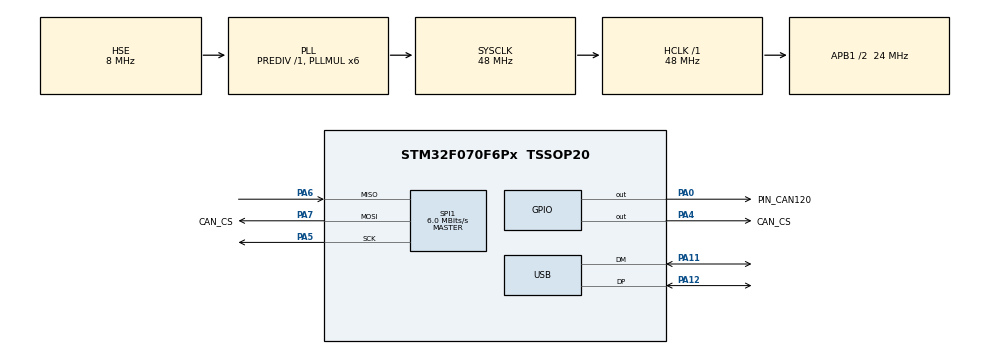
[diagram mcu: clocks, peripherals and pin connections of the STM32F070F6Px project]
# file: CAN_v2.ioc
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Mcu.Family=STM32F0
Mcu.Name=STM32F070F6Px
Mcu.Package=TSSOP20
NVIC.USB_IRQn=true\:0\:0\:false\:false\:true\:false
PA0.GPIO_Label=PIN_CAN120
PA0.GPIO_ModeDefaultOutputPP=GPIO_MODE_OUTPUT_PP
PA0.GPIO_PuPd=GPIO_NOPULL
PA0.GPIO_Speed=GPIO_SPEED_FREQ_LOW
PA0.PinState=GPIO_PIN_RESET
PA0.Signal=GPIO_Output
PA11.Mode=Device
PA11.Signal=USB_DM
PA12.Mode=Device
PA12.Signal=USB_DP
PA13.Mode=Serial_Wire
PA13.Signal=SYS_SWDIO
PA14.Mode=Serial_Wire
PA14.Signal=SYS_SWCLK
PA4.GPIO_Label=CAN_CS
PA4.GPIO_PuPd=GPIO_PULLUP
PA4.Signal=GPIO_Output
PA5.Mode=Full_Duplex_Master
PA5.Signal=SPI1_SCK
PA6.Mode=Full_Duplex_Master
PA6.Signal=SPI1_MISO
PA7.GPIO_Label=CAN_CS
PA7.Mode=Full_Duplex_Master
PA7.Signal=SPI1_MOSI
PF0-OSC_IN.Mode=HSE-External-Oscillator
PF0-OSC_IN.Signal=RCC_OSC_IN
PF1-OSC_OUT.Mode=HSE-External-Oscillator
PF1-OSC_OUT.Signal=RCC_OSC_OUT
ProjectManager.HeapSize=0x200
ProjectManager.StackSize=0x400
ProjectManager.TargetToolchain=MDK-ARM V5
RCC.AHBFreq_Value=48000000
RCC.APB1CLKDivider=RCC_HCLK_DIV2
RCC.APB1Freq_Value=24000000
RCC.APB1TimFreq_Value=48000000
RCC.HCLKFreq_Value=48000000
RCC.PLLMUL=RCC_PLL_MUL6
RCC.SYSCLKFreq_VALUE=48000000
RCC.SYSCLKSource=RCC_SYSCLKSOURCE_PLLCLK
SPI1.BaudRatePrescaler=SPI_BAUDRATEPRESCALER_4
SPI1.CalculateBaudRate=6.0 MBits/s
SPI1.DataSize=SPI_DATASIZE_8BIT
SPI1.Direction=SPI_DIRECTION_2LINES
SPI1.Mode=SPI_MODE_MASTER
SPI1.VirtualType=VM_MASTER
USB.low_power_enable=ENABLE
USB.lpm_enable=ENABLE
USB_DEVICE.CLASS_NAME_FS=CDC
USB_DEVICE.USBD_MAX_STR_DESC_SIZ=256
USB_DEVICE.VID=1152
USB_DEVICE.VirtualMode=Cdc
USB_DEVICE.VirtualModeFS=Cdc_FS
VP_SYS_VS_PINREMAP.Mode=PINREMAP
VP_USB_DEVICE_VS_USB_DEVICE_CDC_FS.Mode=CDC_FS
board=custom

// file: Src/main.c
/**
  ******************************************************************************
  * @file           : main.c
  * @brief          : Main program body
  ******************************************************************************
  * This notice applies to any and all portions of this file
  * that are not between comment pairs USER CODE BEGIN and
  * USER CODE END. Other portions of this file, whether
  * inserted by the user or by software development tools
  * are owned by their respective copyright owners.
  *
  * Copyright (c) 2019 STMicroelectronics International N.V.
  * All rights reserved.
  *
  * Redistribution and use in source and binary forms, with or without
  * modification, are permitted, provided that the following conditions are met:
  *
  * 1. Redistribution of source code must retain the above copyright notice,
  *    this list of conditions and the following disclaimer.
  * 2. Redistributions in binary form must reproduce the above copyright notice,
  *    this list of conditions and the following disclaimer in the documentation
  *    and/or other materials provided with the distribution.
  * 3. Neither the name of STMicroelectronics nor the names of other
  *    contributors to this software may be used to endorse or promote products
  *    derived from this software without specific written permission.
  * 4. This software, including modifications and/or derivative works of this
  *    software, must execute solely and exclusively on microcontroller or
  *    microprocessor devices manufactured by or for STMicroelectronics.
  * 5. Redistribution and use of this software other than as permitted under
  *    this license is void and will automatically terminate your rights under
  *    this license.
  *
  * THIS SOFTWARE IS PROVIDED BY STMICROELECTRONICS AND CONTRIBUTORS "AS IS"
  * AND ANY EXPRESS, IMPLIED OR STATUTORY WARRANTIES, INCLUDING, BUT NOT
  * LIMITED TO, THE IMPLIED WARRANTIES OF MERCHANTABILITY, FITNESS FOR A
  * PARTICULAR PURPOSE AND NON-INFRINGEMENT OF THIRD PARTY INTELLECTUAL PROPERTY
  * RIGHTS ARE DISCLAIMED TO THE FULLEST EXTENT PERMITTED BY LAW. IN NO EVENT
  * SHALL STMICROELECTRONICS OR CONTRIBUTORS BE LIABLE FOR ANY DIRECT, INDIRECT,
  * INCIDENTAL, SPECIAL, EXEMPLARY, OR CONSEQUENTIAL DAMAGES (INCLUDING, BUT NOT
  * LIMITED TO, PROCUREMENT OF SUBSTITUTE GOODS OR SERVICES; LOSS OF USE, DATA,
  * OR PROFITS; OR BUSINESS INTERRUPTION) HOWEVER CAUSED AND ON ANY THEORY OF
  * LIABILITY, WHETHER IN CONTRACT, STRICT LIABILITY, OR TORT (INCLUDING
  * NEGLIGENCE OR OTHERWISE) ARISING IN ANY WAY OUT OF THE USE OF THIS SOFTWARE,
  * EVEN IF ADVISED OF THE POSSIBILITY OF SUCH DAMAGE.
  *
  ******************************************************************************
  */
#include "main.h"
#include "stm32f0xx_hal.h"
#include "usb_device.h"
/* USER CODE BEGIN Includes */
#include "usbd_cdc_if.h"
#include "CANSPI.h"
/* USER CODE END Includes */

SPI_HandleTypeDef hspi1;
/* USER CODE BEGIN PV */
/* Private variables ---------------------------------------------------------*/

#define LOG_RECORDS_SIZE 8
#define bool uint8_t
#define true 1
#define false 0

typedef enum
{
	Status_Error_CANSPI_Was_Not_initilized = 1,
	Status_Error_CANSPI_Transmit = 2,
	Status_Error_CANSPI_Transmit_Passive = 4,
	Status_Error_CANSPI_Recieve_Passive = 8,
	Status_Hanshake_OK = 16,
	Status_With_CAN_Body = 32,
	Status_TestPin = 64,
	Status_Error_HAL = 128,
	Status_Error_Input = 256,
} Status;

typedef enum
{
	Command_Invalid = -1,
	Command_Turn_CAN120_On = 0,
	Command_Turn_CAN120_Off,
	Command_Tx_CAN,
	Command_Handshake_Comes,
	Command_Reset_CAN,
	Command_MAX
} Command;

Command CURRENT_STATE = Command_Invalid;
uCAN_MSG txMessage;

#ifdef MCP2515_ENABLED

#pragma pack(push, 1)
typedef struct
{
	uint8_t headerMSG;
	uint32_t status;
	uCAN_MSG msg;
} Message;
#pragma pack(pop)

typedef struct
{
	Message rx;
	uint32_t lastStatus;
} Context;

#endif//MCP2515_ENABLED
/* USER CODE END PV */
void SystemClock_Config(void);
static void MX_GPIO_Init(void);
static void MX_SPI1_Init(void);
/* USER CODE BEGIN PFP */
/* Private function prototypes -----------------------------------------------*/
/* USER CODE END PFP */
/* USER CODE BEGIN 0 */
void USBD_Reciever_USER(uint8_t * Buf, uint32_t *Len)
{
	if ( *Len == 1 ){
		CURRENT_STATE = (Command)Buf[0];
	} else if ( *Len <= sizeof(uCAN_MSG) ) {
		memcmp(&txMessage, Buf, *Len);
		CURRENT_STATE = Command_Tx_CAN;
	}
}

void updateState(Context * pContext, Status status, bool flag)
{
	if ( !flag ){
		pContext->rx.status &= ~status;
	}
	if ( flag ){
		pContext->rx.status |= status;
	}
}

bool getState(Context * pContext, Status status)
{
	return (pContext->rx.status & status) != 0 ? true : false;
}

void processIncomingCommand(Context * pContext)
{
	uint8_t res = 0;
	if ( CURRENT_STATE != Command_Invalid ){
		switch ( CURRENT_STATE ){
			case Command_Turn_CAN120_On:
				HAL_GPIO_WritePin(PIN_CAN120_GPIO_Port, PIN_CAN120_Pin, GPIO_PIN_SET);
				break;
			case Command_Turn_CAN120_Off:
				HAL_GPIO_WritePin(PIN_CAN120_GPIO_Port, PIN_CAN120_Pin, GPIO_PIN_RESET);
				break;
			case Command_Tx_CAN:
				res = CANSPI_Transmit(&txMessage);
				updateState(pContext, Status_Error_CANSPI_Transmit, res == 0);
				updateState(pContext, Status_TestPin, !getState(pContext, Status_TestPin));
				break;
			case Command_Handshake_Comes:
				updateState(pContext, Status_Hanshake_OK, true);
				break;
			case Command_Reset_CAN:
				MCP2515_Reset();
				HAL_Delay(1);
				res = CANSPI_Initialize();
				updateState(pContext, Status_Error_CANSPI_Was_Not_initilized, res != 0);
				break;
			default:
				break;
		}
		CURRENT_STATE = Command_Invalid; // Single invocation
	}
}

void processIncomingMessages(Context * pContext)
{
	uint8_t res = 0;
	res = CANSPI_isTxErrorPassive();
	updateState(pContext, Status_Error_CANSPI_Transmit_Passive, res != 0);
	res = CANSPI_isRxErrorPassive();
	updateState(pContext, Status_Error_CANSPI_Recieve_Passive, res != 0);
	if(CANSPI_Receive(&pContext->rx.msg))
	{
		updateState(pContext, Status_With_CAN_Body, true);
	}
}

void sendStateAndMessage(Context * pContext)
{
	if ( pContext->lastStatus != pContext->rx.status ) {
		if ( getState(pContext, Status_With_CAN_Body) == false ){
			//Hasn't a CAN body
			CDC_Transmit_FS((uint8_t*)&pContext->rx, 11);
		}
		if ( getState(pContext, Status_With_CAN_Body) == true ){
			//Has a CAN body
			CDC_Transmit_FS((uint8_t*)&pContext->rx, 11+pContext->rx.msg.frame.dlc);
			//cleanup
			updateState(pContext, Status_With_CAN_Body, false);
			memset(&pContext->rx.msg, 0, sizeof(pContext->rx.msg));
		}
		pContext->lastStatus = pContext->rx.status;
	}
}

/* USER CODE END 0 */

int main(void)
{
  /* USER CODE BEGIN 1 */
	uint8_t ret = 0;
	Context context;
	memset(&context, 0, sizeof(context));
	context.rx.headerMSG = 0xFF;
  /* USER CODE END 1 */
  /* MCU Configuration----------------------------------------------------------*/
  /* Reset of all peripherals, Initializes the Flash interface and the Systick. */
  HAL_Init();
  /* Configure the system clock */
  SystemClock_Config();
  /* Initialize all configured peripherals */
  MX_GPIO_Init();
  MX_USB_DEVICE_Init();
  MX_SPI1_Init();
  /* USER CODE BEGIN 2 */
#ifdef MCP2515_ENABLED
	ret = CANSPI_Initialize();
	updateState(&context, Status_Error_CANSPI_Was_Not_initilized, ret != 0);
#endif//MCP2515_ENABLED
  /* USER CODE END 2 */
  /* Infinite loop */
  while (1) {
  /* USER CODE BEGIN 3 */
		processIncomingCommand(&context);
		processIncomingMessages(&context);
		sendStateAndMessage(&context);
		//const char * MSG = "Hello\r\n";
		//CDC_Transmit_FS((uint8_t*)MSG, strlen(MSG));
  }
  /* USER CODE END 3 */
}

void SystemClock_Config(void)
{

  RCC_OscInitTypeDef RCC_OscInitStruct;
  RCC_ClkInitTypeDef RCC_ClkInitStruct;
  RCC_PeriphCLKInitTypeDef PeriphClkInit;

    /**Initializes the CPU, AHB and APB busses clocks
    */
  RCC_OscInitStruct.OscillatorType = RCC_OSCILLATORTYPE_HSE;
  RCC_OscInitStruct.HSEState = RCC_HSE_ON;
  RCC_OscInitStruct.PLL.PLLState = RCC_PLL_ON;
  RCC_OscInitStruct.PLL.PLLSource = RCC_PLLSOURCE_HSE;
  RCC_OscInitStruct.PLL.PLLMUL = RCC_PLL_MUL6;
  RCC_OscInitStruct.PLL.PREDIV = RCC_PREDIV_DIV1;
  if (HAL_RCC_OscConfig(&RCC_OscInitStruct) != HAL_OK)
  {
    _Error_Handler(__FILE__, __LINE__);
  }

    /**Initializes the CPU, AHB and APB busses clocks
    */
  RCC_ClkInitStruct.ClockType = RCC_CLOCKTYPE_HCLK|RCC_CLOCKTYPE_SYSCLK
                              |RCC_CLOCKTYPE_PCLK1;
  RCC_ClkInitStruct.SYSCLKSource = RCC_SYSCLKSOURCE_PLLCLK;
  RCC_ClkInitStruct.AHBCLKDivider = RCC_SYSCLK_DIV1;
  RCC_ClkInitStruct.APB1CLKDivider = RCC_HCLK_DIV2;

  if (HAL_RCC_ClockConfig(&RCC_ClkInitStruct, FLASH_LATENCY_1) != HAL_OK)
  {
    _Error_Handler(__FILE__, __LINE__);
  }

  PeriphClkInit.PeriphClockSelection = RCC_PERIPHCLK_USB;
  PeriphClkInit.UsbClockSelection = RCC_USBCLKSOURCE_PLL;

  if (HAL_RCCEx_PeriphCLKConfig(&PeriphClkInit) != HAL_OK)
  {
    _Error_Handler(__FILE__, __LINE__);
  }

    /**Configure the Systick interrupt time
    */
  HAL_SYSTICK_Config(HAL_RCC_GetHCLKFreq()/1000);

    /**Configure the Systick
    */
  HAL_SYSTICK_CLKSourceConfig(SYSTICK_CLKSOURCE_HCLK);

  /* SysTick_IRQn interrupt configuration */
  HAL_NVIC_SetPriority(SysTick_IRQn, 0, 0);
}

/* SPI1 init function */
static void MX_SPI1_Init(void)
{

  /* SPI1 parameter configuration*/
  hspi1.Instance = SPI1;
  hspi1.Init.Mode = SPI_MODE_MASTER;
  hspi1.Init.Direction = SPI_DIRECTION_2LINES;
  hspi1.Init.DataSize = SPI_DATASIZE_8BIT;
  hspi1.Init.CLKPolarity = SPI_POLARITY_LOW;
  hspi1.Init.CLKPhase = SPI_PHASE_1EDGE;
  hspi1.Init.NSS = SPI_NSS_SOFT;
  hspi1.Init.BaudRatePrescaler = SPI_BAUDRATEPRESCALER_4;
  hspi1.Init.FirstBit = SPI_FIRSTBIT_MSB;
  hspi1.Init.TIMode = SPI_TIMODE_DISABLE;
  hspi1.Init.CRCCalculation = SPI_CRCCALCULATION_DISABLE;
  hspi1.Init.CRCPolynomial = 7;
  hspi1.Init.CRCLength = SPI_CRC_LENGTH_DATASIZE;
  hspi1.Init.NSSPMode = SPI_NSS_PULSE_ENABLE;
  if (HAL_SPI_Init(&hspi1) != HAL_OK)
  {
    _Error_Handler(__FILE__, __LINE__);
  }

}

/** Configure pins as
        * Analog
        * Input
        * Output
        * EVENT_OUT
        * EXTI
*/
static void MX_GPIO_Init(void)
{

  GPIO_InitTypeDef GPIO_InitStruct;

  /* GPIO Ports Clock Enable */
  __HAL_RCC_GPIOF_CLK_ENABLE();
  __HAL_RCC_GPIOA_CLK_ENABLE();

  /*Configure GPIO pin Output Level */
  HAL_GPIO_WritePin(GPIOA, PIN_CAN120_Pin|CAN_CS_Pin, GPIO_PIN_RESET);

  /*Configure GPIO pin : PIN_CAN120_Pin */
  GPIO_InitStruct.Pin = PIN_CAN120_Pin;
  GPIO_InitStruct.Mode = GPIO_MODE_OUTPUT_PP;
  GPIO_InitStruct.Pull = GPIO_NOPULL;
  GPIO_InitStruct.Speed = GPIO_SPEED_FREQ_LOW;
  HAL_GPIO_Init(PIN_CAN120_GPIO_Port, &GPIO_InitStruct);

  /*Configure GPIO pin : CAN_CS_Pin */
  GPIO_InitStruct.Pin = CAN_CS_Pin;
  GPIO_InitStruct.Mode = GPIO_MODE_OUTPUT_PP;
  GPIO_InitStruct.Pull = GPIO_PULLUP;
  GPIO_InitStruct.Speed = GPIO_SPEED_FREQ_LOW;
  HAL_GPIO_Init(CAN_CS_GPIO_Port, &GPIO_InitStruct);

}

void _Error_Handler(char *file, int line)
{
  while(1)
  {
  }
}

/************************ (C) COPYRIGHT STMicroelectronics *****END OF FILE****/
